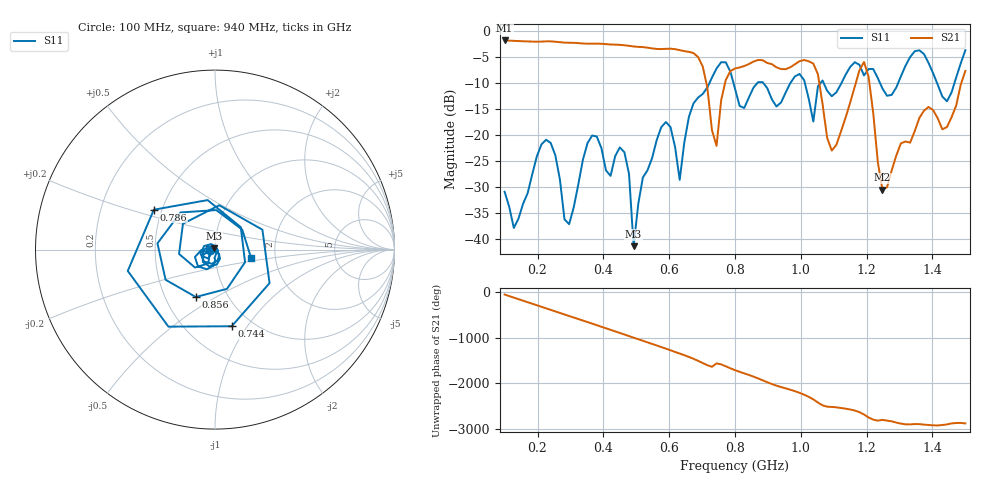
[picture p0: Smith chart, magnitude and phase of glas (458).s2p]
! NanoVNA-App
! Date: 2025-09-25 15:59:02
! Start: 100MHz Stop: 1,5GHz Points: 101
! S-Parameter data: F S11 S21 S12 S22
# Hz S RI R 50
!  Frequency  S11_Real  S11_Imag  S21_Real  S21_Imag  S12_Real  S12_Imag  S22_Real  S22_Imag
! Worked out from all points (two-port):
!   101 points, 100 MHz to 1.5 GHz, reference 50 ohm
!   highest |S21| = -1.80 dB at 100 MHz (marker M1); lowest = -30.6 dB at 1.248 GHz (marker M2)
!   |S21| within 3 dB of the highest: start of sweep to 684.3 MHz
!   lowest |S11| = -41.4 dB at 492 MHz (marker M3), VSWR 1.02, Z = 49.5 + j0.665 ohm
!   |S11| at or under -10 dB: start of sweep to 722.3 MHz; 795.3 MHz to 867.8 MHz (72.44 MHz wide, 8.71 % of centre); 886.1 MHz to 968.2 MHz (82.15 MHz wide, 8.86 % of centre) (the widest 3 of 7)
!   S12 and S22 are empty: the file has one direction only
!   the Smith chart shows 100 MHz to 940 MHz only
!   S11 on the Smith chart (normalised r, x): 100 MHz: 0.95, -0.01; 744 MHz: 0.81, -0.85; 786 MHz: 0.45, +0.24; 856 MHz: 0.71, -0.41; 940 MHz: 1.49, -0.14
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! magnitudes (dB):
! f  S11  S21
! 100 MHz  -30.9  -1.8
! 128 MHz  -37.9  -1.9
! 226 MHz  -20.9  -2.0
! 296 MHz  -37.2  -2.2
! 338 MHz  -24.7  -2.4
! 464 MHz  -23.3  -2.7
! 492 MHz  -41.4  -3.0
! 576 MHz  -18.5  -3.5
! 632 MHz  -28.7  -3.7
! 702 MHz  -12.1  -6.8
! 744 MHz  -7.2  -22.1
! 786 MHz  -7.8  -7.7
! 800 MHz  -11.1  -7.2
! 856 MHz  -10.9  -5.9
! 940 MHz  -13.7  -7.3
! 1.038 GHz  -17.4  -6.3
! 1.094 GHz  -12.5  -23.0
! 1.192 GHz  -8.5  -5.9
! 1.248 GHz  -11.1  -30.6
! 1.276 GHz  -12.3  -26.9
! 1.444 GHz  -13.5  -18.5
! 1.5 GHz  -3.7  -7.7
